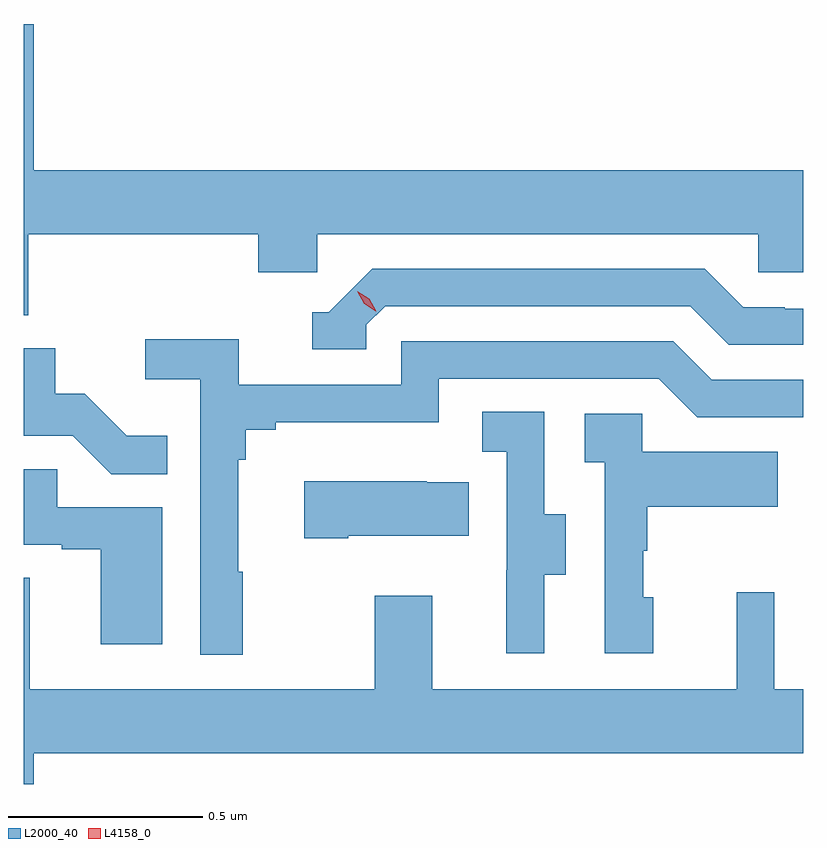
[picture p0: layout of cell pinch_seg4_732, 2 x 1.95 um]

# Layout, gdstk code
import gdstk
lib = gdstk.Library(unit=1e-6, precision=1e-09)
def P(c, l, *ps):  # polygons
    for p in ps: c.add(gdstk.Polygon(p, *l))
L2000_40 = (2000, 40)
L4158_0 = (4158, 0)

pinch_seg4_732 = lib.new_cell('pinch_seg4_732')
P(pinch_seg4_732, L2000_40, [(836.486,812.804),(837.077,812.804),(837.077,812.706),(837.228,812.706),(837.228,812.804),(838.359,812.804),(838.359,812.706),(838.475,812.706),(838.475,812.968),(836.5,812.968),(836.5,813.343),(836.475,813.343),(836.475,812.596),(836.486,812.596)],
  [(837.354,812.571),(837.402,812.619),(838.185,812.619),(838.284,812.52),(838.475,812.52),(838.475,812.613),(838.428,812.613),(838.428,812.616),(838.321,812.616),(838.222,812.715),(837.369,812.715),(837.258,812.604),(837.215,812.604),(837.215,812.508),(837.354,812.508)],
  [(837.037,811.937),(837.025,811.937),(837.025,812.225),(837.044,812.225),(837.044,812.302),(837.121,812.302),(837.121,812.321),(837.54,812.321),(837.54,812.433),(838.104,812.433),(838.203,812.334),(838.475,812.334),(838.475,812.43),(838.24,812.43),(838.141,812.529),(837.444,812.529),(837.444,812.418),(837.026,812.418),(837.026,812.534),(836.787,812.534),(836.787,812.432),(836.928,812.432),(836.928,811.725),(837.037,811.725)],
  [(836.843,812.287),(836.739,812.287),(836.632,812.394),(836.556,812.394),(836.556,812.511),(836.475,812.511),(836.475,812.286),(836.601,812.286),(836.699,812.188),(836.843,812.188)],
  [(837.811,811.93),(837.865,811.93),(837.865,812.085),(837.81,812.085),(837.81,812.348),(837.651,812.348),(837.651,812.245),(837.714,812.245),(837.714,811.941),(837.713,811.941),(837.713,811.728),(837.811,811.728)],
  [(838.09,811.872),(838.065,811.872),(838.065,811.991),(838.075,811.991),(838.075,812.105),(838.409,812.105),(838.409,812.245),(838.062,812.245),(838.062,812.343),(837.915,812.343),(837.915,812.219),(837.966,812.219),(837.966,811.728),(838.09,811.728)],
  [(836.83,812.103),(836.561,812.103),(836.561,812.201),(836.475,812.201),(836.475,812.007),(836.573,812.007),(836.573,811.995),(836.672,811.995),(836.672,811.752),(836.83,811.752)],
  [(837.307,812.03),(837.617,812.03),(837.617,812.167),(837.509,812.167),(837.509,812.17),(837.195,812.17),(837.195,812.023),(837.307,812.023)],
  [(836.5,811.472),(838.475,811.472),(838.475,811.636),(838.401,811.636),(838.401,811.885),(838.304,811.885),(838.304,811.636),(837.523,811.636),(837.523,811.876),(837.376,811.876),(837.376,811.636),(836.491,811.636),(836.491,811.922),(836.475,811.922),(836.475,811.393),(836.5,811.393)])
P(pinch_seg4_732, L4158_0, [(837.378,812.606),(837.348,812.625),(837.331,812.657),(837.331,812.657),(837.331,812.657),(837.362,812.638),(837.379,812.606),(837.379,812.606)])

lib.write_gds('pinch_seg4_732.gds')
